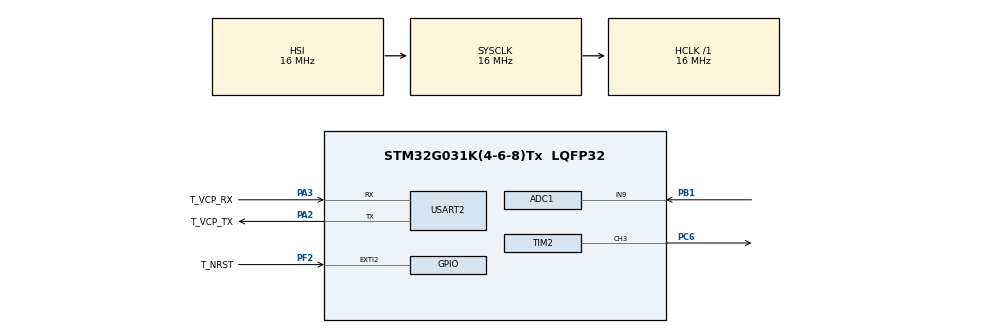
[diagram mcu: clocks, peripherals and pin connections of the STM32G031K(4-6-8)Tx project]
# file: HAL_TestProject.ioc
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ADC1.Channel-1\#ChannelRegularConversion=ADC_CHANNEL_9
ADC1.ContinuousConvMode=ENABLE
ADC1.NbrOfConversionFlag=1
ADC1.Rank-1\#ChannelRegularConversion=1
ADC1.SamplingTime-1\#ChannelRegularConversion=ADC_SAMPLINGTIME_COMMON_1
ADC1.SelectedChannel=ADC_CHANNEL_9
ADC1.master=1
Mcu.Family=STM32G0
Mcu.Name=STM32G031K(4-6-8)Tx
Mcu.Package=LQFP32
NVIC.USART2_IRQn=true\:0\:0\:false\:false\:true\:true\:true\:true
PA13.GPIO_Label=T_JTMS
PA13.Mode=Serial_Wire
PA13.Signal=SYS_SWDIO
PA14-BOOT0.GPIO_Label=T_JTCK
PA14-BOOT0.Mode=Serial_Wire
PA14-BOOT0.Signal=SYS_SWCLK
PA2.GPIO_Label=T_VCP_TX
PA2.GPIO_PuPd=GPIO_PULLUP
PA2.Mode=Asynchronous
PA2.Signal=USART2_TX
PA3.GPIO_Label=T_VCP_RX
PA3.GPIO_PuPd=GPIO_PULLUP
PA3.Mode=Asynchronous
PA3.Signal=USART2_RX
PB1.Mode=IN9
PB1.Signal=ADC1_IN9
PC14-OSC32_IN\ (PC14).Mode=LSE-External-Oscillator
PC14-OSC32_IN\ (PC14).Signal=RCC_OSC32_IN
PC15-OSC32_OUT\ (PC15).Mode=LSE-External-Oscillator
PC15-OSC32_OUT\ (PC15).Signal=RCC_OSC32_OUT
PC6.Signal=S_TIM2_CH3
PF2\ -\ NRST.GPIO_Label=T_NRST
PF2\ -\ NRST.Signal=GPXTI2
ProjectManager.HeapSize=0x200
ProjectManager.StackSize=0x400
ProjectManager.TargetToolchain=STM32CubeIDE
RCC.AHBFreq_Value=16000000
RCC.CortexFreq_Value=16000000
RCC.EXTERNAL_CLOCK_VALUE=12288000
RCC.HCLKFreq_Value=16000000
RCC.HSE_VALUE=8000000
RCC.HSI_VALUE=16000000
RCC.SYSCLKFreq_VALUE=16000000
RCC.VCOOutputFreq_Value=128000000
SH.S_TIM2_CH3.0=TIM2_CH3,PWM Generation3 CH3
TIM2.Channel-PWM\ Generation3\ CH3=TIM_CHANNEL_3
TIM2.Period=99
TIM2.Prescaler=99
USART2.VirtualMode-Asynchronous=VM_ASYNC
VP_TIM2_VS_ClockSourceINT.Mode=Internal
board=NUCLEO-G031K8

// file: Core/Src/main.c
/* USER CODE BEGIN Header */
/**
  ******************************************************************************
  * @file           : main.c
  * @brief          : Main program body
  ******************************************************************************
  * @attention
  *
  * Copyright (c) 2024 STMicroelectronics.
  * All rights reserved.
  *
  * This software is licensed under terms that can be found in the LICENSE file
  * in the root directory of this software component.
  * If no LICENSE file comes with this software, it is provided AS-IS.
  *
  ******************************************************************************
  */
#include <stdio.h>
/* USER CODE END Header */
#include "main.h"

/* USER CODE BEGIN Includes */

#include "my_linked_list.h"

/* USER CODE END Includes */

ADC_HandleTypeDef hadc1;

TIM_HandleTypeDef htim2;

UART_HandleTypeDef huart2;

/* USER CODE BEGIN PV */

typedef enum
{
	Default  = 48,
	Option_1 = 49,
	Option_2 = 50,
	Option_3 = 51,
	Option_4 = 52,

}LedOptionsType_t;

typedef enum
{

	LED_ON  = 4095,
	LED_OFF = 0,

}LedStateType_t;

uint8_t tx_buffer[] = "1";
uint8_t rx_buffer = Default;

uint8_t rx_flag = STATE_OFF;
uint8_t led_flag = STATE_ON;
uint8_t check_flag = STATE_OFF;
HAL_StatusTypeDef status_flag;
StateType_t greeting_flag = STATE_OFF;

uint8_t txData = (0x66U);
uint8_t rxData = (0x00U);

uint8_t askVar[] = "\n Enter the number, press Space key after entering.\n\r";
uint8_t askIndex[] = "\n Enter the index, press Space key after entering.\n\r";
uint8_t var[4] = {0};
uint8_t varDec = 0;

uint8_t repeat[] = "\n\n\n\r Please Choose An Operation\n\r Add to Head - 1\n\r Add to Tail - 2\n\r Delete Selected Node - 3\n\r Display List - 4\n\r";
uint8_t greeting_list[] = "\n\n\n\r Welcome to Number List\n\n\r Each element of the list can hold up to number 255 and no more\n\n\r Only use numbers and Space key. Please do not press any other button.\n\n\n\r Choose the Linked List operation to run\n\r Add to Head - 1\n\r Add to Tail - 2\n\r Delete Selected Node - 3\n\r Display List - 4\n\r";
uint8_t greeting_led[] = " Write the numbers on the side to run the corresponding action\n\r Led Toggle - 1\n\r Led Blinker - 2\n\r Led Slow Toggle - 3\n\r";

/* USER CODE END PV */

void SystemClock_Config(void);
static void MX_GPIO_Init(void);
static void MX_USART2_UART_Init(void);
static void MX_ADC1_Init(void);
static void MX_TIM2_Init(void);

/* USER CODE BEGIN 0 */

uint16_t readValue = 0U;

LinkedList list;

void setPWM_Freq(uint32_t freq)
{

	uint32_t tempARR = __HAL_TIM_GET_AUTORELOAD(&htim2);
	uint32_t newPSC = ( ( SystemCoreClock / (freq * (tempARR) ) ) - 1 );

	__HAL_TIM_SET_PRESCALER(&htim2, newPSC);

}

void setPWM_DutyCycle(uint32_t value)
{

	uint32_t cycle = (value / 40.95);

	__HAL_TIM_SET_COMPARE(&htim2, TIM_CHANNEL_3, cycle);

}

void HAL_UART_RxCpltCallback(UART_HandleTypeDef *huart)
{

	if( rx_buffer != Default ) { rx_flag = STATE_ON;}

}

void HAL_UART_TxCpltCallback(UART_HandleTypeDef *huart)
{
}

static void Led_GPIO_OutputInit(void)
{
	GPIO_InitTypeDef GPIO_InitStruct = {0};

	GPIO_InitStruct.Pin = GPIO_PIN_6;
	GPIO_InitStruct.Mode = GPIO_MODE_OUTPUT_PP;
	GPIO_InitStruct.Pull = GPIO_NOPULL;
	GPIO_InitStruct.Speed = GPIO_SPEED_FREQ_LOW;
	HAL_GPIO_Init(GPIOC, &GPIO_InitStruct);

	led_flag = STATE_OFF;
}

static void Led_TIM_OutputInit(void)
{
	TIM_OC_InitTypeDef sConfigOC = {0};

	sConfigOC.OCMode = TIM_OCMODE_PWM1;
	sConfigOC.Pulse = 0;
	sConfigOC.OCPolarity = TIM_OCPOLARITY_HIGH;
	sConfigOC.OCFastMode = TIM_OCFAST_DISABLE;
	if (HAL_TIM_PWM_ConfigChannel(&htim2, &sConfigOC, TIM_CHANNEL_3) != HAL_OK)
	{
	  Error_Handler();
	}

	HAL_TIM_MspPostInit(&htim2);

	led_flag = STATE_ON;
}

void LedControl(void)
{
	  if( rx_flag )
	  {
		  switch(rx_buffer){

				case Option_1:

					if( led_flag )
					{
						Led_GPIO_OutputInit();
					}

					uint8_t choice1[] = "\nChosen Option 1 - Led Toggle\n\r";
					HAL_UART_Transmit(&huart2, choice1, sizeof(choice1), HAL_MAX_DELAY);
					HAL_GPIO_TogglePin(GPIOC, GPIO_PIN_6);

					if( HAL_GPIO_ReadPin(GPIOC, GPIO_PIN_6) ) {readValue = LED_ON;}
					else {readValue = LED_OFF;}

					rx_flag = STATE_OFF;

					break;

				case Option_2:

					if( led_flag )
					{
						Led_GPIO_OutputInit();
					}

					uint8_t choice2[] = "\nChosen Option 2 - Led Blinker\n\r";
					HAL_UART_Transmit(&huart2, choice2, sizeof(choice2), HAL_MAX_DELAY);

					for( uint8_t count = 0; count < 10; count  ++)
					{
						HAL_GPIO_TogglePin(GPIOC, GPIO_PIN_6);
						HAL_Delay(100);
					}

					if( HAL_GPIO_ReadPin(GPIOC, GPIO_PIN_6) ) {readValue = LED_ON;}
					else {readValue = LED_OFF;}

					rx_flag = STATE_OFF;

					break;

				case Option_3:

					if( !led_flag )
					{
						Led_TIM_OutputInit();
					}

					uint8_t choice3[] = "\nChosen Option 3 - Led Slow Toggle\n\r";
					HAL_UART_Transmit(&huart2, choice3, sizeof(choice3), HAL_MAX_DELAY);

					if( readValue == LED_OFF )
					{
						while( readValue != LED_ON)
						{
							setPWM_DutyCycle(readValue);
							readValue += 100;
							HAL_Delay(20);

							if( readValue > 4000)
							{
								readValue = LED_ON;
								HAL_GPIO_WritePin(GPIOC, GPIO_PIN_6, GPIO_PIN_SET);
							}
						}
					}
					else if( readValue == LED_ON)
					{
						while( readValue != LED_OFF)
						{
							setPWM_DutyCycle(readValue);
							readValue -= 100;
							HAL_Delay(20);

							if( readValue < 100)
							{
								readValue = LED_OFF;
								HAL_GPIO_WritePin(GPIOC, GPIO_PIN_6, GPIO_PIN_RESET);
							}
						}
					}

					rx_flag = STATE_OFF;

					break;

				default:
					uint8_t repeat[] = "\n\rPlease Choose A Number\n\r Led Toggle - 1\n\r Led Blinker - 2\n\r Led Slow Toggle - 3\n\r";
					HAL_UART_Transmit(&huart2, repeat, sizeof(repeat), HAL_MAX_DELAY);

					rx_flag = STATE_OFF;
			}
	  }
	  else
	  {
		  HAL_UART_Receive_IT(&huart2, &rx_buffer, sizeof(rx_buffer));
	  }
}

void LinkedListControl(void)
{

	if( rx_flag )
	{

		switch(rx_buffer){

		case Option_1:

			uint8_t choice1[] = "\n\n\n Chosen Option 1 - Add to Head\n\r";
			HAL_UART_Transmit(&huart2, choice1, sizeof(choice1), 500);

			HAL_UART_Transmit(&huart2, askVar, sizeof(askVar), 500);

			status_flag = HAL_UART_Receive(&huart2, var, sizeof(var), HAL_MAX_DELAY);

			// Control for Receive function
			varDec = GetDecimal(&huart2, var, sizeof(var));

			if( status_flag == HAL_OK && var[0] != 0 && varDec)
			{
				// Add node to the head of list
				AddHead(&list, varDec);

				// Control for if node added
				if( GetNode(&list, 1)->data == GetDecimal(&huart2, var, sizeof(var)) )
				{
					uint8_t result1[] = "\n Data successfully added to the head\n\r";
					HAL_UART_Transmit(&huart2, result1, sizeof(result1), 500);
				}
				else
				{
					uint8_t errorADD[] = "\n ERROR: Node couldn't added to the list \n\r";
					HAL_UART_Transmit(&huart2, errorADD, sizeof(errorADD), 500);
				}
			}
			else
			{
				uint8_t errorReceive[] = "\n ERROR: Data receiving error \n\r";
				HAL_UART_Transmit(&huart2, errorReceive, sizeof(errorReceive), 500);
			}

			HAL_UART_Transmit(&huart2, repeat, sizeof(repeat), 500);

			// Reset variables

			for(uint8_t i = 0; i < sizeof(var); i++)
			{
				var[i] = 0;
			}
			rx_flag = STATE_OFF;
			rx_buffer = Default;
			status_flag = STATE_OFF;

			break;

		case Option_2:

			uint8_t choice2[] = "\n\n\n Chosen Option 2 - Add to Tail\n\r";
			HAL_UART_Transmit(&huart2, choice2, sizeof(choice2), 500);

			HAL_UART_Transmit(&huart2, askVar, sizeof(askVar), 500);

			status_flag = HAL_UART_Receive(&huart2, var, sizeof(var), HAL_MAX_DELAY);

			// Control for Receive function
			varDec = GetDecimal(&huart2, var, sizeof(var));

			if( status_flag == HAL_OK && var[0] != 0 && varDec)
			{
				// Add node to the head of list

				AddTail(&list, varDec);

				// Control if node added

				if( GetNode(&list, list.tail->index)->data == GetDecimal(&huart2, var, sizeof(var)) )
				{
					uint8_t result1[] = "\n Data successfully added to the tail\n\r";
					HAL_UART_Transmit(&huart2, result1, sizeof(result1), 500);
				}
				else
				{
					uint8_t errorADD[] = "\n ERROR: Node couldn't added to the list \n\r";
					HAL_UART_Transmit(&huart2, errorADD, sizeof(errorADD), 500);
				}
			}
			else
			{
				uint8_t errorReceive[] = "\n ERROR: Data receiving error \n\r";
				HAL_UART_Transmit(&huart2, errorReceive, sizeof(errorReceive), 500);
			}

			HAL_UART_Transmit(&huart2, repeat, sizeof(repeat), 500);

			for(uint8_t i = 0; i < sizeof(var); i++)
			{
				var[i] = 0;
			}
			rx_flag = STATE_OFF;
			rx_buffer = Default;
			status_flag = STATE_OFF;

			break;

		case Option_3:

			uint8_t choice3[] = "\n\n\n Chosen Option 3 - Delete Selected Node\n\r";
			HAL_UART_Transmit(&huart2, choice3, sizeof(choice3), 500);

			// check if list is empty
			if( IsEmpty(&list) )
			{
				uint8_t empty[] = "\n ERROR: Cannot use Delete operation. List is Empty.\n\r";
				HAL_UART_Transmit(&huart2, empty, sizeof(empty), 500);

				HAL_UART_Transmit(&huart2, repeat, sizeof(repeat), 500);

				for(uint8_t i = 0; i < sizeof(var); i++)
				{
					var[i] = 0;
				}
				rx_flag = STATE_OFF;
				rx_buffer = Default;
				status_flag = STATE_OFF;

			}
			else
			{

				HAL_UART_Transmit(&huart2, askIndex, sizeof(askVar), 500);

				HAL_UART_Receive(&huart2, var, sizeof(var), HAL_MAX_DELAY);

				//Kontrol noktası
				if( status_flag == HAL_OK && var[0] != 0 )
				{
					Node *node = GetNode(&list, GetDecimal(&huart2, var, sizeof(var)) );

					//Control if node is in the list
					if(node)
					{
						Delete(&list, node);

						//Control if node is deleted
						if( CheckNode(&list, node) == HAL_ERROR )
						{
							uint8_t result3[] = "\n Data successfully deleted from the list\n\r";
							HAL_UART_Transmit(&huart2, result3, sizeof(result3), 500);
						}
					}
					else
					{
						uint8_t errorNotFound[] = "\n ERROR: Node with the data entered does not exist\n\r";
						HAL_UART_Transmit(&huart2, errorNotFound, sizeof(errorNotFound), 500);

				}
			}

			HAL_UART_Transmit(&huart2, repeat, sizeof(repeat), 500);

			for(uint8_t i = 0; i < sizeof(var); i++)
			{
				var[i] = 0;
			}
			rx_flag = STATE_OFF;
			rx_buffer = Default;
			status_flag = STATE_OFF;

			break;

		case Option_4:

			uint8_t choice4[] = "\n\n\n Chosen Option 4 - Display List\n\r";
			HAL_UART_Transmit(&huart2, choice4, sizeof(choice4), 500);

			DisplayLinkedList(&list, &huart2);

			HAL_UART_Transmit(&huart2, repeat, sizeof(repeat), 500);

			for(uint8_t i = 0; i < sizeof(var); i++)
			{
				var[i] = 0;
			}
			rx_flag = STATE_OFF;
			rx_buffer = Default;
			status_flag = STATE_OFF;

			break;

		default:
			HAL_UART_Transmit(&huart2, repeat, sizeof(repeat), 500);

			for(uint8_t i = 0; i < sizeof(var); i++)
			{
				var[i] = 0;
			}
			rx_flag = STATE_OFF;
			rx_buffer = Default;
			status_flag = STATE_OFF;

			break;
			}
		}
	}
	else
	{
		HAL_UART_Receive_IT(&huart2, &rx_buffer, sizeof(rx_buffer));
		HAL_Delay(100);
	}
}

/* USER CODE END 0 */

int main(void)
{

  /* MCU Configuration--------------------------------------------------------*/

  /* Reset of all peripherals, Initializes the Flash interface and the Systick. */
  HAL_Init();

  /* USER CODE BEGIN Init */
  InitializeList(&list);

  /* USER CODE END Init */

  /* Configure the system clock */
  SystemClock_Config();

  /* Initialize all configured peripherals */
  MX_GPIO_Init();
  MX_USART2_UART_Init();
  MX_ADC1_Init();
  MX_TIM2_Init();
  /* USER CODE BEGIN 2 */

//  HAL_TIM_PWM_Start(&htim2, TIM_CHANNEL_3);
//  setPWM_Freq(100000);

//  HAL_ADC_Start(&hadc1);
  //HAL_UART_Transmit_IT(&huart2, tx_buffer, sizeof(tx_buffer));

  HAL_UART_Transmit(&huart2, greeting_list, sizeof(greeting_list), 500);

  HAL_UART_Receive_IT(&huart2, &rx_buffer, sizeof(rx_buffer));

//  HAL_UART_Receive_IT(&huart2, rx_buffer, sizeof(rx_buffer));

//  	HAL_I2C_Master_Transmit_IT(&hi2c1, 0x24, &txData, 1);
//  	HAL_I2C_Master_Receive_IT(&hi2c2, 0x24, &rxData, 1);

//  uint8_t txData = 0x66U;
//  uint8_t rxData = 0x00U;
//
  //HAL_SPI_TransmitReceive(&hspi1, &txData, &rxData, 1, HAL_MAX_DELAY);

  /* USER CODE END 2 */

  /* Infinite loop */
  while (1)
  {

    /* USER CODE BEGIN 3 */

	 // LedControl();

	  LinkedListControl();

//	  HAL_ADC_PollForConversion(&hadc1, 1000);
//	  readValue = HAL_ADC_GetValue(&hadc1);
//	  setPWM_DutyCycle(readValue);

//	  HAL_UART_Transmit(&huart2, tx_buffer, sizeof(tx_buffer), 1000);
//	  HAL_Delay(1000);

  }
  /* USER CODE END 3 */
}

void SystemClock_Config(void)
{
  RCC_OscInitTypeDef RCC_OscInitStruct = {0};
  RCC_ClkInitTypeDef RCC_ClkInitStruct = {0};

  /** Configure the main internal regulator output voltage
  */
  HAL_PWREx_ControlVoltageScaling(PWR_REGULATOR_VOLTAGE_SCALE1);

  /** Initializes the RCC Oscillators according to the specified parameters
  * in the RCC_OscInitTypeDef structure.
  */
  RCC_OscInitStruct.OscillatorType = RCC_OSCILLATORTYPE_HSI;
  RCC_OscInitStruct.HSIState = RCC_HSI_ON;
  RCC_OscInitStruct.HSIDiv = RCC_HSI_DIV1;
  RCC_OscInitStruct.HSICalibrationValue = RCC_HSICALIBRATION_DEFAULT;
  RCC_OscInitStruct.PLL.PLLState = RCC_PLL_NONE;
  if (HAL_RCC_OscConfig(&RCC_OscInitStruct) != HAL_OK)
  {
    Error_Handler();
  }

  /** Initializes the CPU, AHB and APB buses clocks
  */
  RCC_ClkInitStruct.ClockType = RCC_CLOCKTYPE_HCLK|RCC_CLOCKTYPE_SYSCLK
                              |RCC_CLOCKTYPE_PCLK1;
  RCC_ClkInitStruct.SYSCLKSource = RCC_SYSCLKSOURCE_HSI;
  RCC_ClkInitStruct.AHBCLKDivider = RCC_SYSCLK_DIV1;
  RCC_ClkInitStruct.APB1CLKDivider = RCC_HCLK_DIV1;

  if (HAL_RCC_ClockConfig(&RCC_ClkInitStruct, FLASH_LATENCY_0) != HAL_OK)
  {
    Error_Handler();
  }
}

static void MX_ADC1_Init(void)
{

  ADC_ChannelConfTypeDef sConfig = {0};

  /** Configure the global features of the ADC (Clock, Resolution, Data Alignment and number of conversion)
  */
  hadc1.Instance = ADC1;
  hadc1.Init.ClockPrescaler = ADC_CLOCK_SYNC_PCLK_DIV2;
  hadc1.Init.Resolution = ADC_RESOLUTION_12B;
  hadc1.Init.DataAlign = ADC_DATAALIGN_RIGHT;
  hadc1.Init.ScanConvMode = ADC_SCAN_DISABLE;
  hadc1.Init.EOCSelection = ADC_EOC_SINGLE_CONV;
  hadc1.Init.LowPowerAutoWait = DISABLE;
  hadc1.Init.LowPowerAutoPowerOff = DISABLE;
  hadc1.Init.ContinuousConvMode = ENABLE;
  hadc1.Init.NbrOfConversion = 1;
  hadc1.Init.ExternalTrigConv = ADC_SOFTWARE_START;
  hadc1.Init.ExternalTrigConvEdge = ADC_EXTERNALTRIGCONVEDGE_NONE;
  hadc1.Init.DMAContinuousRequests = DISABLE;
  hadc1.Init.Overrun = ADC_OVR_DATA_PRESERVED;
  hadc1.Init.SamplingTimeCommon1 = ADC_SAMPLETIME_1CYCLE_5;
  hadc1.Init.SamplingTimeCommon2 = ADC_SAMPLETIME_1CYCLE_5;
  hadc1.Init.OversamplingMode = DISABLE;
  hadc1.Init.TriggerFrequencyMode = ADC_TRIGGER_FREQ_HIGH;
  if (HAL_ADC_Init(&hadc1) != HAL_OK)
  {
    Error_Handler();
  }

  /** Configure Regular Channel
  */
  sConfig.Channel = ADC_CHANNEL_9;
  sConfig.Rank = ADC_REGULAR_RANK_1;
  sConfig.SamplingTime = ADC_SAMPLINGTIME_COMMON_1;
  if (HAL_ADC_ConfigChannel(&hadc1, &sConfig) != HAL_OK)
  {
    Error_Handler();
  }

}

static void MX_TIM2_Init(void)
{

  TIM_ClockConfigTypeDef sClockSourceConfig = {0};
  TIM_MasterConfigTypeDef sMasterConfig = {0};
  TIM_OC_InitTypeDef sConfigOC = {0};

  htim2.Instance = TIM2;
  htim2.Init.Prescaler = 99;
  htim2.Init.CounterMode = TIM_COUNTERMODE_UP;
  htim2.Init.Period = 99;
  htim2.Init.ClockDivision = TIM_CLOCKDIVISION_DIV1;
  htim2.Init.AutoReloadPreload = TIM_AUTORELOAD_PRELOAD_DISABLE;
  if (HAL_TIM_Base_Init(&htim2) != HAL_OK)
  {
    Error_Handler();
  }
  sClockSourceConfig.ClockSource = TIM_CLOCKSOURCE_INTERNAL;
  if (HAL_TIM_ConfigClockSource(&htim2, &sClockSourceConfig) != HAL_OK)
  {
    Error_Handler();
  }
  if (HAL_TIM_PWM_Init(&htim2) != HAL_OK)
  {
    Error_Handler();
  }
  sMasterConfig.MasterOutputTrigger = TIM_TRGO_RESET;
  sMasterConfig.MasterSlaveMode = TIM_MASTERSLAVEMODE_DISABLE;
  if (HAL_TIMEx_MasterConfigSynchronization(&htim2, &sMasterConfig) != HAL_OK)
  {
    Error_Handler();
  }
  sConfigOC.OCMode = TIM_OCMODE_PWM1;
  sConfigOC.Pulse = 0;
  sConfigOC.OCPolarity = TIM_OCPOLARITY_HIGH;
  sConfigOC.OCFastMode = TIM_OCFAST_DISABLE;
  if (HAL_TIM_PWM_ConfigChannel(&htim2, &sConfigOC, TIM_CHANNEL_3) != HAL_OK)
  {
    Error_Handler();
  }
  HAL_TIM_MspPostInit(&htim2);

}

static void MX_USART2_UART_Init(void)
{

  huart2.Instance = USART2;
  huart2.Init.BaudRate = 115200;
  huart2.Init.WordLength = UART_WORDLENGTH_8B;
  huart2.Init.StopBits = UART_STOPBITS_1;
  huart2.Init.Parity = UART_PARITY_NONE;
  huart2.Init.Mode = UART_MODE_TX_RX;
  huart2.Init.HwFlowCtl = UART_HWCONTROL_NONE;
  huart2.Init.OverSampling = UART_OVERSAMPLING_16;
  huart2.Init.OneBitSampling = UART_ONE_BIT_SAMPLE_DISABLE;
  huart2.Init.ClockPrescaler = UART_PRESCALER_DIV1;
  huart2.AdvancedInit.AdvFeatureInit = UART_ADVFEATURE_NO_INIT;
  if (HAL_UART_Init(&huart2) != HAL_OK)
  {
    Error_Handler();
  }

}

static void MX_GPIO_Init(void)
{
  GPIO_InitTypeDef GPIO_InitStruct = {0};

  /* GPIO Ports Clock Enable */
  __HAL_RCC_GPIOC_CLK_ENABLE();
  __HAL_RCC_GPIOF_CLK_ENABLE();
  __HAL_RCC_GPIOA_CLK_ENABLE();
  __HAL_RCC_GPIOB_CLK_ENABLE();

  /*Configure GPIO pin : T_NRST_Pin */
  GPIO_InitStruct.Pin = T_NRST_Pin;
  GPIO_InitStruct.Mode = GPIO_MODE_IT_RISING;
  GPIO_InitStruct.Pull = GPIO_NOPULL;
  HAL_GPIO_Init(T_NRST_GPIO_Port, &GPIO_InitStruct);

}

void Error_Handler(void)
{
  __disable_irq();
  while (1)
  {
  }
}
